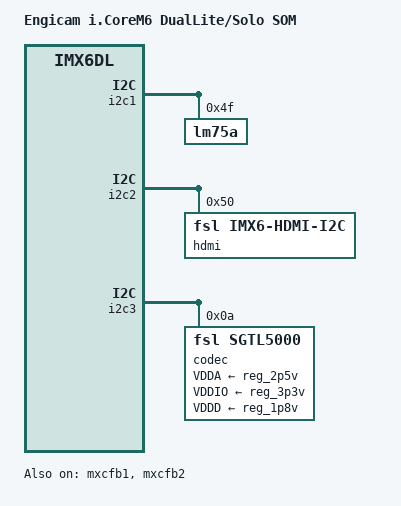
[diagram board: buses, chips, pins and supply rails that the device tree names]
/*
 * Copyright (C) 2013 Freescale Semiconductor, Inc.
 *
 * This program is free software; you can redistribute it and/or modify
 * it under the terms of the GNU General Public License version 2 as
 * published by the Free Software Foundation.
 */

/dts-v1/;

#include "imx6dl.dtsi"
#include "imx6qdl-icore-rqs.dtsi"

/ {
	model = "Engicam i.CoreM6 DualLite/Solo SOM";
	compatible = "fsl,imx6-icore-rqs", "fsl,imx6dl";
};

&ldb {
	ipu_id = <0>;
	sec_ipu_id = <0>;
};

&mxcfb1 {
	status = "okay";
};

&mxcfb2 {
	status = "okay";
};

&i2c1 {

	lm75a@4F {
		compatible = "lm75a";
		reg = <0x4F>;
	};

};

&i2c2 {

	hdmi: edid@50 {
		compatible = "fsl,imx6-hdmi-i2c";
		reg = <0x50>;
	};

};


&i2c3 {

	codec: sgtl5000@0a {
		compatible = "fsl,sgtl5000";
		reg = <0x0a>;
		clocks = <&clks 201>;
		VDDA-supply = <&reg_2p5v>;
		VDDIO-supply = <&reg_3p3v>;
		VDDD-supply = <&reg_1p8v>;
	};

};

&iomuxc {

// TBD	pinctrl-assert-gpios = <&gpio1 2 GPIO_ACTIVE_HIGH>;
	
	hog {
		pinctrl_hog: hoggrp {
			fsl,pins = <
				MX6QDL_PAD_GPIO_2__GPIO1_IO02 0x1f059
				MX6QDL_PAD_EIM_D19__GPIO3_IO19 0x1f059 /* not used pin for ADV7180 driver compatibility */
			>;
		};
	};
};


